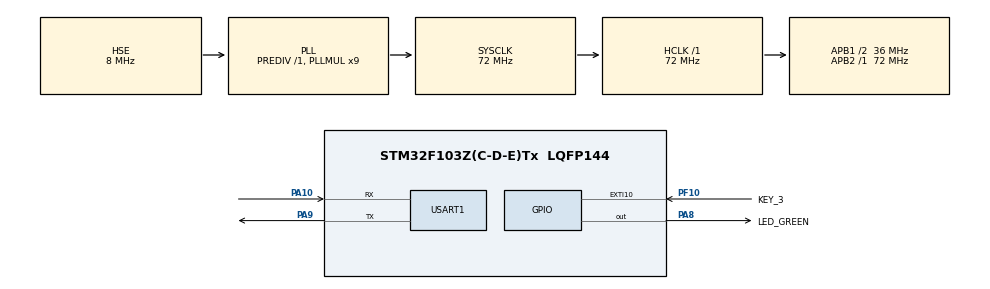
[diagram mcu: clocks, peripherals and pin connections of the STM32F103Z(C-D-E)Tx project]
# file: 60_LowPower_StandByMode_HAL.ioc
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Mcu.Family=STM32F1
Mcu.Name=STM32F103Z(C-D-E)Tx
Mcu.Package=LQFP144
NVIC.EXTI15_10_IRQn=true\:0\:0\:false\:false\:true\:true\:true\:true
NVIC.PriorityGroup=NVIC_PRIORITYGROUP_4
NVIC.USART1_IRQn=true\:0\:0\:false\:false\:true\:true\:true\:true
OSC_IN.Mode=HSE-External-Oscillator
OSC_IN.Signal=RCC_OSC_IN
OSC_OUT.Mode=HSE-External-Oscillator
OSC_OUT.Signal=RCC_OSC_OUT
PA0-WKUP.Mode=SYS_WakeUp0
PA0-WKUP.Signal=SYS_WKUP
PA10.Mode=Asynchronous
PA10.Signal=USART1_RX
PA13.Mode=Serial_Wire
PA13.Signal=SYS_JTMS-SWDIO
PA14.Mode=Serial_Wire
PA14.Signal=SYS_JTCK-SWCLK
PA8.GPIO_Label=LED_GREEN
PA8.GPIO_Speed=GPIO_SPEED_FREQ_HIGH
PA8.Signal=GPIO_Output
PA9.Mode=Asynchronous
PA9.Signal=USART1_TX
PC14-OSC32_IN.Mode=LSE-External-Oscillator
PC14-OSC32_IN.Signal=RCC_OSC32_IN
PC15-OSC32_OUT.Mode=LSE-External-Oscillator
PC15-OSC32_OUT.Signal=RCC_OSC32_OUT
PF10.GPIO_Label=KEY_3
PF10.GPIO_PuPd=GPIO_PULLDOWN
PF10.Signal=GPXTI10
ProjectManager.HeapSize=0x200
ProjectManager.StackSize=0x400
ProjectManager.TargetToolchain=MDK-ARM V5.32
RCC.AHBFreq_Value=72000000
RCC.APB1CLKDivider=RCC_HCLK_DIV2
RCC.APB1Freq_Value=36000000
RCC.APB1TimFreq_Value=72000000
RCC.APB2Freq_Value=72000000
RCC.APB2TimFreq_Value=72000000
RCC.HCLKFreq_Value=72000000
RCC.PLLMUL=RCC_PLL_MUL9
RCC.PLLSourceVirtual=RCC_PLLSOURCE_HSE
RCC.SYSCLKFreq_VALUE=72000000
RCC.SYSCLKSource=RCC_SYSCLKSOURCE_PLLCLK
RCC.USBFreq_Value=72000000
USART1.VirtualMode=VM_ASYNC
board=custom

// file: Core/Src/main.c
/* USER CODE BEGIN Header */
/**
  ******************************************************************************
  * @file           : main.c
  * @brief          : Main program body
  ******************************************************************************
  * @attention
  *
  * Copyright (c) 2025 STMicroelectronics.
  * All rights reserved.
  *
  * This software is licensed under terms that can be found in the LICENSE file
  * in the root directory of this software component.
  * If no LICENSE file comes with this software, it is provided AS-IS.
  *
  ******************************************************************************
  */
/* USER CODE END Header */
#include "main.h"
#include "usart.h"
#include "gpio.h"

void SystemClock_Config(void);

/* USER CODE BEGIN 0 */
void enter_standBy_mode(void)
{
  HAL_PWR_EnableWakeUpPin(PWR_WAKEUP_PIN1);
  HAL_PWR_EnterSTANDBYMode();
}
/* USER CODE END 0 */

int main(void)
{

  /* MCU Configuration--------------------------------------------------------*/

  /* Reset of all peripherals, Initializes the Flash interface and the Systick. */
  HAL_Init();

  /* Configure the system clock */
  SystemClock_Config();

  /* Initialize all configured peripherals */
  MX_GPIO_Init();
  MX_USART1_UART_Init();
  /* USER CODE BEGIN 2 */
  if(__HAL_PWR_GET_FLAG(PWR_FLAG_SB) != RESET)
  {
    //MCU从待机模式唤醒
    __HAL_PWR_CLEAR_FLAG(PWR_FLAG_SB);
    printf("Wake up from StandBy Mode\r\n");
  }
  else
  {
    printf("Normal Power On\r\n");
  }
  if(__HAL_PWR_GET_FLAG(PWR_FLAG_WU) != RESET)
  {
    //MCU从唤醒引脚唤醒
    __HAL_PWR_CLEAR_FLAG(PWR_FLAG_WU);
    printf("Wake up from WakeUp Pin\r\n");
  }
  /* USER CODE END 2 */

  /* Infinite loop */
  /* USER CODE BEGIN WHILE */
  while (1)
  {
    printf("Enter standBy Mode Hal......\r\n");
    HAL_Delay(5000);
    enter_standBy_mode();
    //以下代码永远不会被执行
    //HAL_Delay(1000);
    //printf("Wake up from Stop Mode\r\n");
    /* USER CODE END WHILE */

  }
}

void SystemClock_Config(void)
{
  RCC_OscInitTypeDef RCC_OscInitStruct = {0};
  RCC_ClkInitTypeDef RCC_ClkInitStruct = {0};

  /** Initializes the RCC Oscillators according to the specified parameters
  * in the RCC_OscInitTypeDef structure.
  */
  RCC_OscInitStruct.OscillatorType = RCC_OSCILLATORTYPE_HSE;
  RCC_OscInitStruct.HSEState = RCC_HSE_ON;
  RCC_OscInitStruct.HSEPredivValue = RCC_HSE_PREDIV_DIV1;
  RCC_OscInitStruct.HSIState = RCC_HSI_ON;
  RCC_OscInitStruct.PLL.PLLState = RCC_PLL_ON;
  RCC_OscInitStruct.PLL.PLLSource = RCC_PLLSOURCE_HSE;
  RCC_OscInitStruct.PLL.PLLMUL = RCC_PLL_MUL9;
  if (HAL_RCC_OscConfig(&RCC_OscInitStruct) != HAL_OK)
  {
    Error_Handler();
  }

  /** Initializes the CPU, AHB and APB buses clocks
  */
  RCC_ClkInitStruct.ClockType = RCC_CLOCKTYPE_HCLK|RCC_CLOCKTYPE_SYSCLK
                              |RCC_CLOCKTYPE_PCLK1|RCC_CLOCKTYPE_PCLK2;
  RCC_ClkInitStruct.SYSCLKSource = RCC_SYSCLKSOURCE_PLLCLK;
  RCC_ClkInitStruct.AHBCLKDivider = RCC_SYSCLK_DIV1;
  RCC_ClkInitStruct.APB1CLKDivider = RCC_HCLK_DIV2;
  RCC_ClkInitStruct.APB2CLKDivider = RCC_HCLK_DIV1;

  if (HAL_RCC_ClockConfig(&RCC_ClkInitStruct, FLASH_LATENCY_2) != HAL_OK)
  {
    Error_Handler();
  }
}

/* USER CODE BEGIN 4 */
void HAL_GPIO_EXTI_Callback(uint16_t GPIO_Pin){
  if(GPIO_Pin == KEY_3_Pin){
    //printf("KEY3 EXTI Wakeup\r\n");
  }
}
/* USER CODE END 4 */

void Error_Handler(void)
{
  __disable_irq();
  while (1)
  {
  }
}
